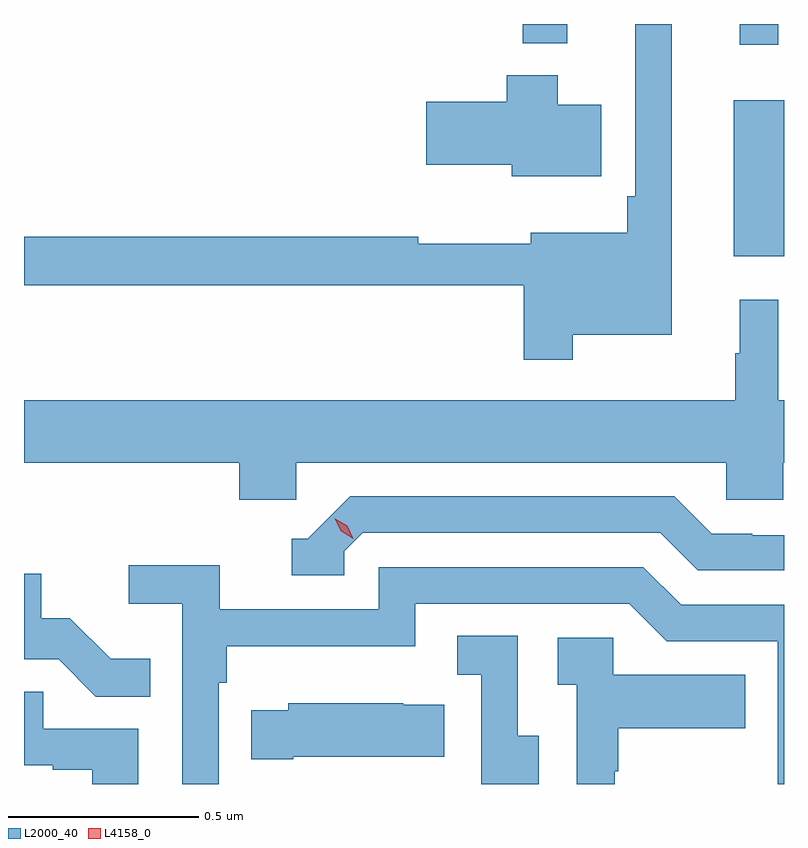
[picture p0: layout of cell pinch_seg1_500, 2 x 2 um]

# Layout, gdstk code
import gdstk
lib = gdstk.Library(unit=1e-6, precision=1e-09)
def R(c, l, rs):  # rectangles x0, y0, x1, y1
    for r in rs: c.add(gdstk.rectangle(r[:2], r[2:], *l))
def P(c, l, *ps):  # polygons
    for p in ps: c.add(gdstk.Polygon(p, *l))
L2000_40 = (2000, 40)
L4158_0 = (4158, 0)

pinch_seg1_500 = lib.new_cell('pinch_seg1_500')
R(pinch_seg1_500, L2000_40, [(1099.673,536.291,1099.805,536.701), (1099.688,536.847,1099.79,536.902), (1099.117,536.852,1099.235,536.902)])
P(pinch_seg1_500, L2000_40, [(1099.249,536.084),(1099.51,536.084),(1099.51,536.902),(1099.413,536.902),(1099.413,536.449),(1099.393,536.449),(1099.393,536.353),(1099.139,536.353),(1099.139,536.324),(1098.843,536.324),(1098.843,536.342),(1097.805,536.342),(1097.805,536.214),(1099.12,536.214),(1099.12,536.019),(1099.249,536.019)],
  [(1099.324,536.689),(1099.21,536.689),(1099.21,536.767),(1099.076,536.767),(1099.076,536.697),(1098.864,536.697),(1098.864,536.531),(1099.088,536.531),(1099.088,536.501),(1099.324,536.501)],
  [(1097.805,535.748),(1098.371,535.748),(1098.371,535.65),(1098.522,535.65),(1098.522,535.748),(1099.653,535.748),(1099.653,535.65),(1099.803,535.65),(1099.803,535.748),(1099.805,535.748),(1099.805,535.912),(1099.79,535.912),(1099.79,536.176),(1099.688,536.176),(1099.688,536.036),(1099.677,536.036),(1099.677,535.912),(1097.805,535.912)],
  [(1098.648,535.515),(1098.696,535.563),(1099.479,535.563),(1099.578,535.464),(1099.805,535.464),(1099.805,535.557),(1099.722,535.557),(1099.722,535.56),(1099.615,535.56),(1099.516,535.659),(1098.663,535.659),(1098.552,535.548),(1098.509,535.548),(1098.509,535.452),(1098.648,535.452)],
  [(1098.318,535.169),(1098.338,535.169),(1098.338,535.265),(1098.834,535.265),(1098.834,535.377),(1099.398,535.377),(1099.497,535.278),(1099.788,535.278),(1099.788,534.902),(1099.805,534.902),(1099.805,535.374),(1099.534,535.374),(1099.435,535.473),(1098.738,535.473),(1098.738,535.362),(1098.32,535.362),(1098.32,535.478),(1098.081,535.478),(1098.081,535.376),(1098.222,535.376),(1098.222,534.902),(1098.318,534.902)],
  [(1098.137,535.231),(1098.033,535.231),(1097.926,535.338),(1097.85,535.338),(1097.85,535.455),(1097.805,535.455),(1097.805,535.23),(1097.896,535.23),(1097.994,535.132),(1098.137,535.132)],
  [(1099.159,535.029),(1099.104,535.029),(1099.104,535.292),(1098.945,535.292),(1098.945,535.189),(1099.008,535.189),(1099.008,534.902),(1099.159,534.902)],
  [(1099.359,534.935),(1099.369,534.935),(1099.369,535.049),(1099.703,535.049),(1099.703,535.189),(1099.356,535.189),(1099.356,535.287),(1099.209,535.287),(1099.209,535.163),(1099.26,535.163),(1099.26,534.902),(1099.359,534.902)],
  [(1098.106,535.047),(1097.855,535.047),(1097.855,535.145),(1097.805,535.145),(1097.805,534.951),(1097.881,534.951),(1097.881,534.939),(1097.984,534.939),(1097.984,534.902),(1098.106,534.902)],
  [(1098.514,534.974),(1098.911,534.974),(1098.911,535.111),(1098.803,535.111),(1098.803,535.114),(1098.501,535.114),(1098.501,535.096),(1098.403,535.096),(1098.403,534.967),(1098.514,534.967)])
P(pinch_seg1_500, L4158_0, [(1098.671,535.548),(1098.64,535.567),(1098.623,535.6),(1098.623,535.6),(1098.624,535.6),(1098.655,535.581),(1098.671,535.548),(1098.671,535.548)])

lib.write_gds('pinch_seg1_500.gds')
